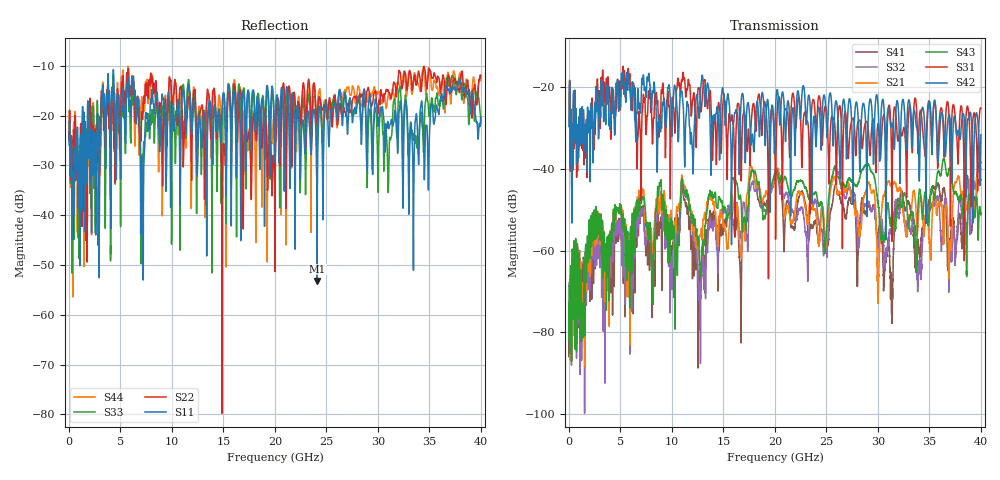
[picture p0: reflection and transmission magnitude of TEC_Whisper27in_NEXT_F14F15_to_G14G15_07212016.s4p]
! TE Connectivity
! F14F15-G14G15_NEXT
!! PART DESCRIPTION: Whisper 27in Megtron 6 HVLP-HVLP-HVLP Channel Model, bulkhead 2.92mm test points
!! MODEL DESCRIPTION: System 4-port S-parameter
!! MODEL STATUS: Measured
!! MODEL GEOMETRY: Channel Model
!! MODEL FREQUENCY RANGE: DC to 40 GHz in 10 MHz frequency steps
!! MODEL EDGE RATE LIMITATION: 12.5 ps (Using conservative 0.5/Fmax rule of thumb)
!! TIME-DOMAIN TRANSFORM CAUTIONS:
!! 1.) Do not simulate transient edge rates faster than the number listed above.  Edge
!!  rates faster than this number contain significant spectral content at frequencies
!!  above the model's highest frequency.
!! 2.) Even when simulating edge rates that are slower than the number listed above, be
!!  aware that the best time resolution possible with a direct iFFT is (1 / 2Fmax).
!!  As a result, time resolution is typically not adequate for most time-domain
!!  simulations unless tricks such as frequency-domain zero-padding and windowing are
!!  used to minimize leakage and aliasing.
!! 3.) Because the model has a uniform frequency step, a direct iFFT will result in an
!!  impulse that that has a time length given by either (1 / Fstep) or (1 / 2Fstep),
!!  depending on the transform being used.  Care has been taken in selecting the
!!  frequency step to ensure a settled impulse response for the model.  Therefore,
!!  convolution with the model's impulse response should present no issues.  However,
!!  if directly concatenating s-parameter models in the frequency domain a user must
!!  either interpolate necessary interim frequencies or complete impulse response
!!  zero-padding.  Impulse response zero-padding is more difficult, but more accurate.
!! PORT DEFINITIONS:
!! Port  1  ----->  Side A  F14  G14  Side B  <-----  Port  2
!! Port  3  ----->  Side A  F15  G15  Side B  <-----  Port  4
! Point-to-Point link (differential)  !
! Connectors:  !
!  1: STRADA Whisper 3.9mm  !
! Materials:  !
!  Backplane: Megtron-6 HVLP  !
!  Daughtercard: Megtron-6 HVLP  !
! Stack-up:  !
!  Backplane: 20 layers, 190mil thick  !
!  Daughtercard: 14 layers, 110mil thick  !
! Trace Length:  !
!  Backplane: 17in  !
!  Daughtercards: 5in  !
! Trace Width:  !
!  Backplane: 5.75-6.25-5.75 mils  !
!  Daughtercards: 6-9-6 mils  !
! Geometry:  !
!  Backplane: Stripline  !
!  Daughtercards: Stripline  !
! Layer Connections:  !
!  Backplane: Layer 16, counterbored(1-6mil stub)  !
!  Daughtercard: Layer 9, counterbored(1-6mil stub) !
! Freq. Range: 0 GHz - 40 GHz  !
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# hz S ma R 50
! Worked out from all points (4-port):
!   4000 points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, 10 MHz to 40 GHz, reference 50 ohm
!   strongest paths, dB at 10 MHz, 10.01 GHz, 20.01 GHz, 30.01 GHz, 40 GHz:
!     S42: -29.6, -30.9, -29.3, -24.5, -31.6
!     S31: -29.4, -23.1, -37.1, -28.9, -25.1
!     S43: -68.5, -53.8, -40.7, -48.3, -51.2
!     S21: -72.4, -57.1, -42.5, -72.9, -39.9
!     S32: -67.8, -67.7, -42.3, -58.7, -38.5
!     S41: -72.9, -63.1, -42.2, -56.8, -42.6
!   lowest |S11| = -53.2 dB at 24.1 GHz (marker M1), VSWR 1.00, Z = 49.8 - j0.0298 ohm
!   |S11| at or under -10 dB: start of sweep to end of sweep
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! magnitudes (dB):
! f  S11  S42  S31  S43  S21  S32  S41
! 10 MHz  -25.9  -29.6  -29.4  -68.5  -72.4  -67.8  -72.9
! 7.09 GHz  -29.8  -17.8  -26.7  -47.0  -45.1  -49.7  -51.4
! 12.73 GHz  -21.3  -23.4  -22.4  -63.7  -56.4  -73.7  -67.1
! 17.75 GHz  -16.6  -32.7  -26.6  -40.4  -39.6  -43.6  -40.3
! 24.1 GHz  -53.2  -28.1  -26.5  -47.0  -53.8  -49.7  -55.5
! 33.99 GHz  -27.1  -39.3  -29.4  -45.8  -49.4  -63.0  -59.9
! 40 GHz  -20.3  -31.6  -25.1  -51.2  -39.9  -38.5  -42.6
